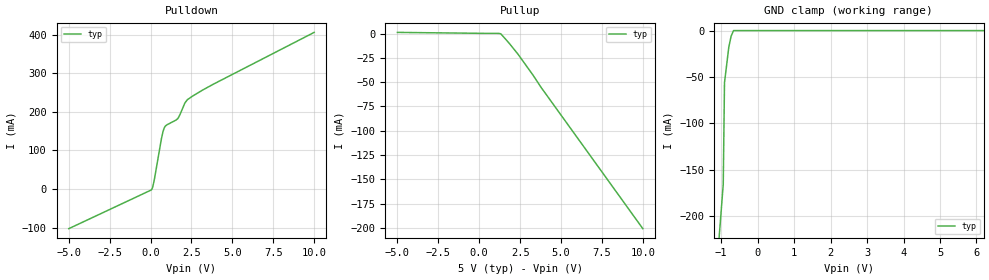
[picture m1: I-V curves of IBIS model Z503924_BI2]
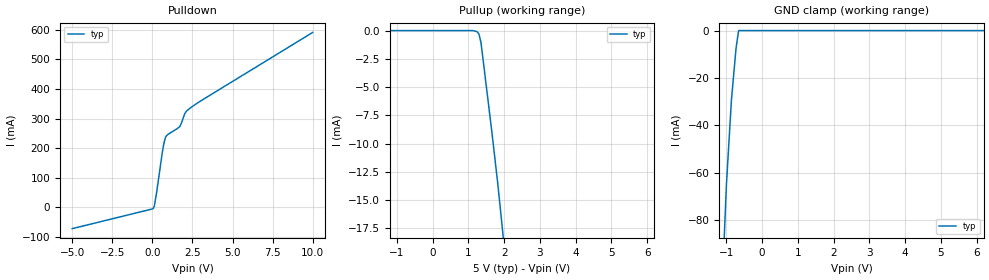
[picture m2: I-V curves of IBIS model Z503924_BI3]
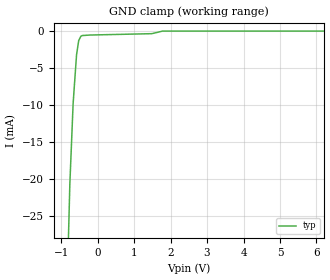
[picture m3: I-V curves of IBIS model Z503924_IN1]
| YOU ARE ONLY AUTHORIZED TO USE THIS SOFTWARE
| ACCORDING TO LICENSOR'S LICENSE RESTRICTIONS.
[IBIS Ver] 3.1
[File Name] mc54f245j.ibs
[File Rev] 2.0
[Source] Measured and created by ICX Technology
[Date] Friday 7/14/00 9:08:03 AM
[Copyright]
| (C) COPYRIGHT 1993-2000
| MENTOR GRAPHICS CORPORATION
| ICX STANDARD LIBRARY, ICX PROJECT MODELING,
| ICX CUSTOM MODELING, ICX VENDOR MODEL
| ALL RIGHTS RESERVED.
| THE FOLLOWING ARE TRADEMARKS OR SERVICE MARKS OF
| MENTOR GRAPHICS CORPORATION:ICX (R), ICX STANDARD
| LIBRARY(R), ICX PROJECT MODELING(R), ICX CUSTOM
| MODELING(R), qualityIBIS(TM), MODELVIEWER(TM),
| AND MODELEDITOR(TM)
| ALL COPIES OF SOFTWARE, INCLUDING BUT NOT LIMITED TO
| ANY MODIFICATIONS, ENHANCEMENTS OR DERIVATIVE WORKS,
| MUST CONTAIN ALL MENTOR GRAPHICS CORPORATION'S
| NOTICES AND LEGENDS, INCLUDING THOSE EMBEDDED IN
| SOFTWARE AND THOSE AFFIXED TO SOFTWARE MEDIUM
| AND CONTAINER, AS RECEIVED FROM MENTOR GRAPHICS
| CORPORATION.
|  ZAP Model Builder 2.7
[Component] MC54F245J
[Manufacturer] OnSemiconductor
[Package]
| variable   typ   min   max
R_pkg  .216ohms NA NA
L_pkg  5.76nH NA NA
C_pkg  2.193pF NA NA
[Pin] signal_name  model_name  R_pin  L_pin C_pin
1 DIR Z503924_IN1 .232 9.76n 3.179p
2 A0 Z503924_BI2 .224 7.26n 2.686p
3 A1 Z503924_BI2 .216 5.26n 2.193p
4 A2 Z503924_BI2 .208 3.76n 1.7p
5 A3 Z503924_BI2 .2 2.76n 1.207p
6 A4 Z503924_BI2 .2 2.76n 1.207p
7 A5 Z503924_BI2 .208 3.76n 1.7p
8 A6 Z503924_BI2 .216 5.26n 2.193p
9 A7 Z503924_BI2 .224 7.26n 2.686p
10 GND GND .232 9.76n 3.179p
11 B7 Z503924_BI3 .232 9.76n 3.179p
12 B6 Z503924_BI3 .224 7.26n 2.686p
13 B5 Z503924_BI3 .216 5.26n 2.193p
14 B4 Z503924_BI3 .208 3.76n 1.7p
15 B3 Z503924_BI3 .2 2.76n 1.207p
16 B2 Z503924_BI3 .2 2.76n 1.207p
17 B1 Z503924_BI3 .208 3.76n 1.7p
18 B0 Z503924_BI3 .216 5.26n 2.193p
19 _G Z503924_IN4 .224 7.26n 2.686p
20 VCC POWER .232 9.76n 3.179p
| Models and submodels in the file (4): Z503924_BI2 (I/O), Z503924_BI3 (I/O), Z503924_IN1 (Input), Z503924_IN4 (Input)
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| (C) COPYRIGHT 1993-2000
| MENTOR GRAPHICS CORPORATION
| ICX STANDARD LIBRARY, ICX PROJECT MODELING,
| ICX CUSTOM MODELING, ICX VENDOR MODEL
| ALL RIGHTS RESERVED.
| THE FOLLOWING ARE TRADEMARKS OR SERVICE MARKS OF
| MENTOR GRAPHICS CORPORATION:ICX (R), ICX STANDARD
| LIBRARY(R), ICX PROJECT MODELING(R), ICX CUSTOM
| MODELING(R), qualityIBIS(TM), MODELVIEWER(TM),
| AND MODELEDITOR(TM)
| ALL COPIES OF SOFTWARE, INCLUDING BUT NOT LIMITED TO
| ANY MODIFICATIONS, ENHANCEMENTS OR DERIVATIVE WORKS,
| MUST CONTAIN ALL MENTOR GRAPHICS CORPORATION'S
| NOTICES AND LEGENDS, INCLUDING THOSE EMBEDDED IN
| SOFTWARE AND THOSE AFFIXED TO SOFTWARE MEDIUM
| AND CONTAINER, AS RECEIVED FROM MENTOR GRAPHICS
| CORPORATION.
| Model Application Version 1.89 2/18/99.
[Model] Z503924_BI2
Model_type I/O
Vinl=800.0mV
Vinh=2.000V
Vref=0.000V
Rref=500.0ohms
Cref=50.00pF
Vmeas=1.500V
C_comp 8.000pF NA NA
| variable typ   min   max
[Voltage Range] 5.000V NA NA
[POWER Clamp Reference] 5.000V NA NA
[Pullup Reference] 5.000V NA NA
[Pulldown Reference] 0.000V NA NA
[GND Clamp Reference] 0.000V NA NA
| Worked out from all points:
|   slope of the pulldown table from 0 to 0.75 V, typ, clamps not added: 4.99 ohm
|   slope of the pullup table from 0 to 0.75 V, typ, clamps not added: 10.2 kohm
|   GND clamp passes 1 mA (typ) near -0.67 V on its own axis
[GND Clamp]
-5V       -2.225A    NA         NA
-942.6mV  -165.7mA   NA         NA
-908.2mV  -56.2mA    NA         NA
-790.1mV  -17.84mA   NA         NA
-725.9mV  -5.873mA   NA         NA
-659.9mV  0A         NA         NA
10V       0A         NA         NA
[Pulldown]
-5V       -103mA     NA         NA
68.4mV    -1.489mA   NA         NA
127mV     4.071mA    NA         NA
224.2mV   22.71mA    NA         NA
664.7mV   130.5mA    NA         NA
835.6mV   158.3mA    NA         NA
1.007V    166.4mA    NA         NA
1.67V     182.5mA    NA         NA
2.1V      223.1mA    NA         NA
2.252V    231.4mA    NA         NA
3.804V    270.8mA    NA         NA
10V       405.8mA    NA         NA
[Pullup]
-5V       1.198mA    NA         NA
393mV     186.1uA    NA         NA
1.001V    186.1uA    NA         NA
1.123V    184.5uA    NA         NA
1.24V     116.6uA    NA         NA
1.323V    -369.1uA   NA         NA
1.829V    -9.935mA   NA         NA
2.378V    -21.44mA   NA         NA
3.31V     -43.33mA   NA         NA
3.773V    -55.22mA   NA         NA
10V       -200.8mA   NA         NA
[POWER Clamp]
-5V       0A         NA         NA
10V       0A         NA         NA
[Ramp]
| variable typ min max
dV/dt_r 1.956/2.126n NA NA
dV/dt_f 1.956/516.7p NA NA
R_load = 500.0Ohms
| (C) COPYRIGHT 1993-2000
| MENTOR GRAPHICS CORPORATION
| ICX STANDARD LIBRARY, ICX PROJECT MODELING,
| ICX CUSTOM MODELING, ICX VENDOR MODEL
| ALL RIGHTS RESERVED.
| THE FOLLOWING ARE TRADEMARKS OR SERVICE MARKS OF
| MENTOR GRAPHICS CORPORATION:ICX (R), ICX STANDARD
| LIBRARY(R), ICX PROJECT MODELING(R), ICX CUSTOM
| MODELING(R), qualityIBIS(TM), MODELVIEWER(TM),
| AND MODELEDITOR(TM)
| ALL COPIES OF SOFTWARE, INCLUDING BUT NOT LIMITED TO
| ANY MODIFICATIONS, ENHANCEMENTS OR DERIVATIVE WORKS,
| MUST CONTAIN ALL MENTOR GRAPHICS CORPORATION'S
| NOTICES AND LEGENDS, INCLUDING THOSE EMBEDDED IN
| SOFTWARE AND THOSE AFFIXED TO SOFTWARE MEDIUM
| AND CONTAINER, AS RECEIVED FROM MENTOR GRAPHICS
| CORPORATION.
| Model Application Version 1.89 2/18/99.
[Model] Z503924_BI3
Model_type I/O
Vinl=800.0mV
Vinh=2.000V
Vref=0.000V
Rref=500.0ohms
Cref=50.00pF
Vmeas=1.500V
C_comp 8.000pF NA NA
| variable typ   min   max
[Voltage Range] 5.000V NA NA
[POWER Clamp Reference] 5.000V NA NA
[Pullup Reference] 5.000V NA NA
[Pulldown Reference] 0.000V NA NA
[GND Clamp Reference] 0.000V NA NA
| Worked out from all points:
|   slope of the pulldown table from 0 to 0.75 V, typ, clamps not added: 3.29 ohm
|   GND clamp passes 1 mA (typ) near -0.66 V on its own axis
[GND Clamp]
-5V       -1.519A    NA         NA
-996.1mV  -64.99mA   NA         NA
-856.2mV  -29.3mA    NA         NA
-726.7mV  -7.348mA   NA         NA
-654mV    0A         NA         NA
10V       0A         NA         NA
[Pulldown]
-5V       -71.51mA   NA         NA
14.61mV   -4.718mA   NA         NA
126.4mV   5.889mA    NA         NA
273.4mV   53.03mA    NA         NA
610.4mV   182.5mA    NA         NA
712.6mV   215.2mA    NA         NA
810.7mV   235.8mA    NA         NA
1.71V     273.4mA    NA         NA
2.018V    316.9mA    NA         NA
2.13V     325.8mA    NA         NA
2.915V    356.7mA    NA         NA
10V       591.5mA    NA         NA
[Pullup]
-5V       4.553uA    NA         NA
1.127V    4.553uA    NA         NA
1.242V    -81.87uA   NA         NA
1.299V    -313.6uA   NA         NA
1.355V    -1.068mA   NA         NA
1.655V    -8.871mA   NA         NA
1.826V    -13.6mA    NA         NA
10V       -266.2mA   NA         NA
[POWER Clamp]
-5V       0A         NA         NA
10V       0A         NA         NA
[Ramp]
| variable typ min max
dV/dt_r 2.004/1.973n NA NA
dV/dt_f 2.004/672.3p NA NA
R_load = 500.0Ohms
| (C) COPYRIGHT 1993-2000
| MENTOR GRAPHICS CORPORATION
| ICX STANDARD LIBRARY, ICX PROJECT MODELING,
| ICX CUSTOM MODELING, ICX VENDOR MODEL
| ALL RIGHTS RESERVED.
| THE FOLLOWING ARE TRADEMARKS OR SERVICE MARKS OF
| MENTOR GRAPHICS CORPORATION:ICX (R), ICX STANDARD
| LIBRARY(R), ICX PROJECT MODELING(R), ICX CUSTOM
| MODELING(R), qualityIBIS(TM), MODELVIEWER(TM),
| AND MODELEDITOR(TM)
| ALL COPIES OF SOFTWARE, INCLUDING BUT NOT LIMITED TO
| ANY MODIFICATIONS, ENHANCEMENTS OR DERIVATIVE WORKS,
| MUST CONTAIN ALL MENTOR GRAPHICS CORPORATION'S
| NOTICES AND LEGENDS, INCLUDING THOSE EMBEDDED IN
| SOFTWARE AND THOSE AFFIXED TO SOFTWARE MEDIUM
| AND CONTAINER, AS RECEIVED FROM MENTOR GRAPHICS
| CORPORATION.
| Model Application Version 1.89 2/18/99.
[Model] Z503924_IN1
Model_type Input
Vinl = 800.0mV
Vinh = 2.000V
C_comp 4.000pF NA NA
| variable typ   min   max
[Voltage Range] 5.000V NA NA
[GND Clamp Reference] 0.000V NA NA
[POWER Clamp Reference] 5.000V NA NA
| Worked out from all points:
|   GND clamp passes 1 mA (typ) near -0.49 V on its own axis
[GND Clamp]
-5V       -825.8mA   NA         NA
-760.8mV  -20.67mA   NA         NA
-670.6mV  -9.76mA    NA         NA
-576.4mV  -3.177mA   NA         NA
-517.7mV  -1.281mA   NA         NA
-459.1mV  -710.5uA   NA         NA
-422.1mV  -606.7uA   NA         NA
-211.1mV  -537.8uA   NA         NA
1.488V    -352.3uA   NA         NA
1.782V    -3.988uA   NA         NA
10V       -3.988uA   NA         NA
[POWER Clamp]
-5V       0A         NA         NA
10V       0A         NA         NA
